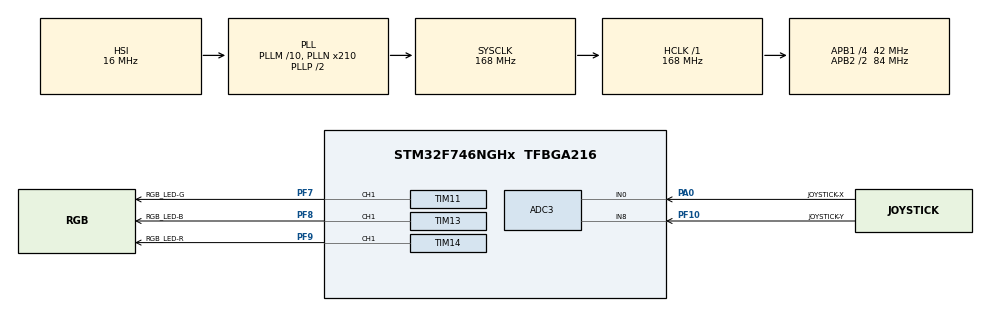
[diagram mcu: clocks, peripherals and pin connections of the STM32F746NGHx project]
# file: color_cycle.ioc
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ADC3.Channel-0\#ChannelRegularConversion=ADC_CHANNEL_0
ADC3.Channel-1\#ChannelRegularConversion=ADC_CHANNEL_8
ADC3.DiscontinuousConvMode=DISABLE
ADC3.EOCSelection=ADC_EOC_SINGLE_CONV
ADC3.EnableAnalogWatchDog=false
ADC3.NbrOfConversion=2
ADC3.NbrOfConversionFlag=1
ADC3.Rank-0\#ChannelRegularConversion=1
ADC3.Rank-1\#ChannelRegularConversion=2
ADC3.SamplingTime-0\#ChannelRegularConversion=ADC_SAMPLETIME_84CYCLES
ADC3.SamplingTime-1\#ChannelRegularConversion=ADC_SAMPLETIME_84CYCLES
ADC3.ScanConvMode=ADC_SCAN_ENABLE
Mcu.Family=STM32F7
Mcu.Name=STM32F746NGHx
Mcu.Package=TFBGA216
NVIC.PriorityGroup=NVIC_PRIORITYGROUP_4
NVIC.TIM8_BRK_TIM12_IRQn=true\:0\:0\:false\:false\:true\:false\:true
NVIC.TimeBase=TIM8_BRK_TIM12_IRQn
NVIC.TimeBaseIP=TIM12
PA0/WKUP.GPIO_Label=JOYSTICK-X
PA0/WKUP.Signal=ADCx_IN0
PA13.Mode=Serial_Wire
PA13.Signal=SYS_JTMS-SWDIO
PA14.Mode=Serial_Wire
PA14.Signal=SYS_JTCK-SWCLK
PC14/OSC32_IN.Mode=LSE-External-Clock-Source
PC14/OSC32_IN.Signal=RCC_OSC32_IN
PC15/OSC32_OUT.Mode=LSE-External-Clock-Source
PC15/OSC32_OUT.Signal=RCC_OSC32_OUT
PF10.GPIO_Label=JOYSTICK-Y
PF10.Mode=IN8
PF10.Signal=ADC3_IN8
PF7.GPIO_Label=RGB_LED-G
PF7.Signal=S_TIM11_CH1
PF8.GPIO_Label=RGB_LED-B
PF8.Signal=S_TIM13_CH1
PF9.GPIO_Label=RGB_LED-R
PF9.Signal=S_TIM14_CH1
PH0/OSC_IN.Mode=HSE-External-Oscillator
PH0/OSC_IN.Signal=RCC_OSC_IN
PH1/OSC_OUT.Mode=HSE-External-Oscillator
PH1/OSC_OUT.Signal=RCC_OSC_OUT
ProjectManager.HeapSize=0x200
ProjectManager.StackSize=0x400
ProjectManager.TargetToolchain=STM32CubeIDE
RCC.AHBFreq_Value=168000000
RCC.APB1CLKDivider=RCC_HCLK_DIV4
RCC.APB1Freq_Value=42000000
RCC.APB1TimFreq_Value=84000000
RCC.APB2CLKDivider=RCC_HCLK_DIV2
RCC.APB2Freq_Value=84000000
RCC.APB2TimFreq_Value=168000000
RCC.CortexFreq_Value=168000000
RCC.HCLKFreq_Value=168000000
RCC.HSE_VALUE=25000000
RCC.HSI_VALUE=16000000
RCC.LSE_VALUE=32768
RCC.PLLM=10
RCC.PLLN=210
RCC.PLLSourceVirtual=RCC_PLLSOURCE_HSI
RCC.SYSCLKFreq_VALUE=168000000
RCC.SYSCLKSource=RCC_SYSCLKSOURCE_PLLCLK
RCC.USBFreq_Value=168000000
RCC.VCOOutputFreq_Value=336000000
SH.ADCx_IN0.0=ADC3_IN0,IN0
SH.S_TIM11_CH1.0=TIM11_CH1,PWM Generation1 CH1
SH.S_TIM13_CH1.0=TIM13_CH1,PWM Generation1 CH1
SH.S_TIM14_CH1.0=TIM14_CH1,PWM Generation1 CH1
TIM11.Channel=TIM_CHANNEL_1
TIM11.Period=250
TIM11.Prescaler=16800-1
TIM13.Channel=TIM_CHANNEL_1
TIM13.Period=250
TIM13.Prescaler=8400-1
TIM14.Channel=TIM_CHANNEL_1
TIM14.Period=250
TIM14.Prescaler=8400-1
VP_SYS_VS_tim12.Mode=TIM12
VP_TIM11_VS_ClockSourceINT.Mode=Enable_Timer
VP_TIM13_VS_ClockSourceINT.Mode=Enable_Timer
VP_TIM14_VS_ClockSourceINT.Mode=Enable_Timer
board=STM32F746G-DISCO

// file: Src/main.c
/* USER CODE BEGIN Header */
/**
  ******************************************************************************
  * @file           : main.c
  * @brief          : Main program body
  ******************************************************************************
  * @attention
  *
  * <h2><center>&copy; Copyright (c) 2019 STMicroelectronics.
  * All rights reserved.</center></h2>
  *
  * This software component is licensed by ST under BSD 3-Clause license,
  * the "License"; You may not use this file except in compliance with the
  * License. You may obtain a copy of the License at:
  *                        opensource.org/licenses/BSD-3-Clause
  *
  ******************************************************************************
  */
/* USER CODE END Header */

#include "main.h"

ADC_HandleTypeDef hadc3;

TIM_HandleTypeDef htim11;
TIM_HandleTypeDef htim13;
TIM_HandleTypeDef htim14;

/* USER CODE BEGIN PV */

const int xR=3798;
const int yR=3072;
const int xG=250;
const int yG=3072;
const int xB=2048;
const int yB=0;

int xJ = 0;
int yJ = 0;
int distanceR;
int distanceG;
int distanceB;

uint32_t ADC_Values [1024];

HAL_StatusTypeDef Status;

/* USER CODE END PV */

void SystemClock_Config(void);
static void MX_GPIO_Init(void);
static void MX_ADC3_Init(void);
static void MX_TIM11_Init(void);
static void MX_TIM13_Init(void);
static void MX_TIM14_Init(void);

int main(void)
{

  /* MCU Configuration--------------------------------------------------------*/

  /* Reset of all peripherals, Initializes the Flash interface and the Systick. */
  HAL_Init();

  /* Configure the system clock */
  SystemClock_Config();

  /* Initialize all configured peripherals */
  MX_GPIO_Init();
  MX_ADC3_Init();
  MX_TIM11_Init();
  MX_TIM13_Init();
  MX_TIM14_Init();
  /* USER CODE BEGIN 2 */

  HAL_TIM_PWM_Start(&htim11, TIM_CHANNEL_1);
  HAL_TIM_PWM_Start(&htim13, TIM_CHANNEL_1);
  HAL_TIM_PWM_Start(&htim14, TIM_CHANNEL_1);

  /* USER CODE END 2 */

  /* Infinite loop */
  /* USER CODE BEGIN WHILE */
  while (1)
  {
                  HAL_ADC_Start(&hadc3);

       //HAL_Delay (1);

                    if (HAL_ADC_PollForConversion(&hadc3, 100) == HAL_OK) {

                      xJ = HAL_ADC_GetValue(&hadc3);
                    }

                    HAL_ADC_Start(&hadc3);

                           HAL_Delay(1);
                    Status = HAL_ADC_PollForConversion(&hadc3, 100);

                    if (Status == HAL_OK) {

                      yJ = HAL_ADC_GetValue(&hadc3);
                    }

                  distanceB = sqrt((xJ-xB) * (xJ-xB) + (yJ-yB) * (yJ-yB));

                                 if (distanceB >= 0 && distanceB < 2048 ) {

                                   TIM13 -> CCR1 = 250;
                                 }

                                 if (distanceB >= 2048 && distanceB < 3547 ) {

                                   TIM13 -> CCR1 = 250 - (distanceB - 2048) / 6;
                                 }

                                 if (distanceB >= 3547 ) {

                                   TIM13 -> CCR1 = 0;
                                 }

                  distanceR = sqrt((xJ-xR) * (xJ-xR) + (yJ-yR) * (yJ-yR));

                                 if (distanceR >= 0 && distanceR < 2048 ) {

                                   TIM14 -> CCR1 = 250;
                                 }

                                 if (distanceR >= 2048 && distanceR < 3547 ) {

                                   TIM14 -> CCR1 = 250 - (distanceR - 2048) / 6;
                                 }

                                 if (distanceR >= 3547 ) {

                                   TIM14 -> CCR1 = 0;
                                 }

                  distanceG = sqrt((xJ-xG) * (xJ-xG) + (yJ-yG) * (yJ-yG));

                                 if (distanceG >= 0 && distanceG < 2048 ) {

                                   TIM11 -> CCR1 = 250;
                                 }

                                 if (distanceG >= 2048 && distanceG < 3547 ) {

                                   TIM11 -> CCR1 = 250 - (distanceG - 2048) / 6;
                                 }

                                 if (distanceG >= 3547 ) {

                                   TIM11 -> CCR1 = 0;
                                 }

    /* USER CODE END WHILE */

  }
}

void SystemClock_Config(void)
{
  RCC_OscInitTypeDef RCC_OscInitStruct = {0};
  RCC_ClkInitTypeDef RCC_ClkInitStruct = {0};

  /** Configure the main internal regulator output voltage
  */
  __HAL_RCC_PWR_CLK_ENABLE();
  __HAL_PWR_VOLTAGESCALING_CONFIG(PWR_REGULATOR_VOLTAGE_SCALE2);
  /** Initializes the CPU, AHB and APB busses clocks
  */
  RCC_OscInitStruct.OscillatorType = RCC_OSCILLATORTYPE_HSI;
  RCC_OscInitStruct.HSIState = RCC_HSI_ON;
  RCC_OscInitStruct.HSICalibrationValue = RCC_HSICALIBRATION_DEFAULT;
  RCC_OscInitStruct.PLL.PLLState = RCC_PLL_ON;
  RCC_OscInitStruct.PLL.PLLSource = RCC_PLLSOURCE_HSI;
  RCC_OscInitStruct.PLL.PLLM = 10;
  RCC_OscInitStruct.PLL.PLLN = 210;
  RCC_OscInitStruct.PLL.PLLP = RCC_PLLP_DIV2;
  RCC_OscInitStruct.PLL.PLLQ = 2;
  if (HAL_RCC_OscConfig(&RCC_OscInitStruct) != HAL_OK)
  {
    Error_Handler();
  }
  /** Initializes the CPU, AHB and APB busses clocks
  */
  RCC_ClkInitStruct.ClockType = RCC_CLOCKTYPE_HCLK|RCC_CLOCKTYPE_SYSCLK
                              |RCC_CLOCKTYPE_PCLK1|RCC_CLOCKTYPE_PCLK2;
  RCC_ClkInitStruct.SYSCLKSource = RCC_SYSCLKSOURCE_PLLCLK;
  RCC_ClkInitStruct.AHBCLKDivider = RCC_SYSCLK_DIV1;
  RCC_ClkInitStruct.APB1CLKDivider = RCC_HCLK_DIV4;
  RCC_ClkInitStruct.APB2CLKDivider = RCC_HCLK_DIV2;

  if (HAL_RCC_ClockConfig(&RCC_ClkInitStruct, FLASH_LATENCY_5) != HAL_OK)
  {
    Error_Handler();
  }
}

static void MX_ADC3_Init(void)
{

  ADC_ChannelConfTypeDef sConfig = {0};

  /** Configure the global features of the ADC (Clock, Resolution, Data Alignment and number of conversion)
  */
  hadc3.Instance = ADC3;
  hadc3.Init.ClockPrescaler = ADC_CLOCK_SYNC_PCLK_DIV4;
  hadc3.Init.Resolution = ADC_RESOLUTION_12B;
  hadc3.Init.ScanConvMode = ADC_SCAN_ENABLE;
  hadc3.Init.ContinuousConvMode = DISABLE;
  hadc3.Init.DiscontinuousConvMode = DISABLE;
  hadc3.Init.ExternalTrigConvEdge = ADC_EXTERNALTRIGCONVEDGE_NONE;
  hadc3.Init.ExternalTrigConv = ADC_SOFTWARE_START;
  hadc3.Init.DataAlign = ADC_DATAALIGN_RIGHT;
  hadc3.Init.NbrOfConversion = 2;
  hadc3.Init.DMAContinuousRequests = DISABLE;
  hadc3.Init.EOCSelection = ADC_EOC_SINGLE_CONV;
  if (HAL_ADC_Init(&hadc3) != HAL_OK)
  {
    Error_Handler();
  }
  /** Configure for the selected ADC regular channel its corresponding rank in the sequencer and its sample time.
  */
  sConfig.Channel = ADC_CHANNEL_0;
  sConfig.Rank = ADC_REGULAR_RANK_1;
  sConfig.SamplingTime = ADC_SAMPLETIME_84CYCLES;
  if (HAL_ADC_ConfigChannel(&hadc3, &sConfig) != HAL_OK)
  {
    Error_Handler();
  }
  /** Configure for the selected ADC regular channel its corresponding rank in the sequencer and its sample time.
  */
  sConfig.Channel = ADC_CHANNEL_8;
  sConfig.Rank = ADC_REGULAR_RANK_2;
  if (HAL_ADC_ConfigChannel(&hadc3, &sConfig) != HAL_OK)
  {
    Error_Handler();
  }

}

static void MX_TIM11_Init(void)
{

  TIM_OC_InitTypeDef sConfigOC = {0};

  htim11.Instance = TIM11;
  htim11.Init.Prescaler = 16800-1;
  htim11.Init.CounterMode = TIM_COUNTERMODE_UP;
  htim11.Init.Period = 250;
  htim11.Init.ClockDivision = TIM_CLOCKDIVISION_DIV1;
  htim11.Init.AutoReloadPreload = TIM_AUTORELOAD_PRELOAD_DISABLE;
  if (HAL_TIM_Base_Init(&htim11) != HAL_OK)
  {
    Error_Handler();
  }
  if (HAL_TIM_PWM_Init(&htim11) != HAL_OK)
  {
    Error_Handler();
  }
  sConfigOC.OCMode = TIM_OCMODE_PWM1;
  sConfigOC.Pulse = 0;
  sConfigOC.OCPolarity = TIM_OCPOLARITY_HIGH;
  sConfigOC.OCFastMode = TIM_OCFAST_DISABLE;
  if (HAL_TIM_PWM_ConfigChannel(&htim11, &sConfigOC, TIM_CHANNEL_1) != HAL_OK)
  {
    Error_Handler();
  }
  HAL_TIM_MspPostInit(&htim11);

}

static void MX_TIM13_Init(void)
{

  TIM_OC_InitTypeDef sConfigOC = {0};

  htim13.Instance = TIM13;
  htim13.Init.Prescaler = 8400-1;
  htim13.Init.CounterMode = TIM_COUNTERMODE_UP;
  htim13.Init.Period = 250;
  htim13.Init.ClockDivision = TIM_CLOCKDIVISION_DIV1;
  htim13.Init.AutoReloadPreload = TIM_AUTORELOAD_PRELOAD_DISABLE;
  if (HAL_TIM_Base_Init(&htim13) != HAL_OK)
  {
    Error_Handler();
  }
  if (HAL_TIM_PWM_Init(&htim13) != HAL_OK)
  {
    Error_Handler();
  }
  sConfigOC.OCMode = TIM_OCMODE_PWM1;
  sConfigOC.Pulse = 0;
  sConfigOC.OCPolarity = TIM_OCPOLARITY_HIGH;
  sConfigOC.OCFastMode = TIM_OCFAST_DISABLE;
  if (HAL_TIM_PWM_ConfigChannel(&htim13, &sConfigOC, TIM_CHANNEL_1) != HAL_OK)
  {
    Error_Handler();
  }
  HAL_TIM_MspPostInit(&htim13);

}

static void MX_TIM14_Init(void)
{

  TIM_OC_InitTypeDef sConfigOC = {0};

  htim14.Instance = TIM14;
  htim14.Init.Prescaler = 8400-1;
  htim14.Init.CounterMode = TIM_COUNTERMODE_UP;
  htim14.Init.Period = 250;
  htim14.Init.ClockDivision = TIM_CLOCKDIVISION_DIV1;
  htim14.Init.AutoReloadPreload = TIM_AUTORELOAD_PRELOAD_DISABLE;
  if (HAL_TIM_Base_Init(&htim14) != HAL_OK)
  {
    Error_Handler();
  }
  if (HAL_TIM_PWM_Init(&htim14) != HAL_OK)
  {
    Error_Handler();
  }
  sConfigOC.OCMode = TIM_OCMODE_PWM1;
  sConfigOC.Pulse = 0;
  sConfigOC.OCPolarity = TIM_OCPOLARITY_HIGH;
  sConfigOC.OCFastMode = TIM_OCFAST_DISABLE;
  if (HAL_TIM_PWM_ConfigChannel(&htim14, &sConfigOC, TIM_CHANNEL_1) != HAL_OK)
  {
    Error_Handler();
  }
  HAL_TIM_MspPostInit(&htim14);

}

static void MX_GPIO_Init(void)
{

  /* GPIO Ports Clock Enable */
  __HAL_RCC_GPIOA_CLK_ENABLE();
  __HAL_RCC_GPIOC_CLK_ENABLE();
  __HAL_RCC_GPIOH_CLK_ENABLE();
  __HAL_RCC_GPIOF_CLK_ENABLE();

}

void HAL_TIM_PeriodElapsedCallback(TIM_HandleTypeDef *htim)
{
  if (htim->Instance == TIM12) {
    HAL_IncTick();
  }
}

void Error_Handler(void)
{
}

/************************ (C) COPYRIGHT STMicroelectronics *****END OF FILE****/
